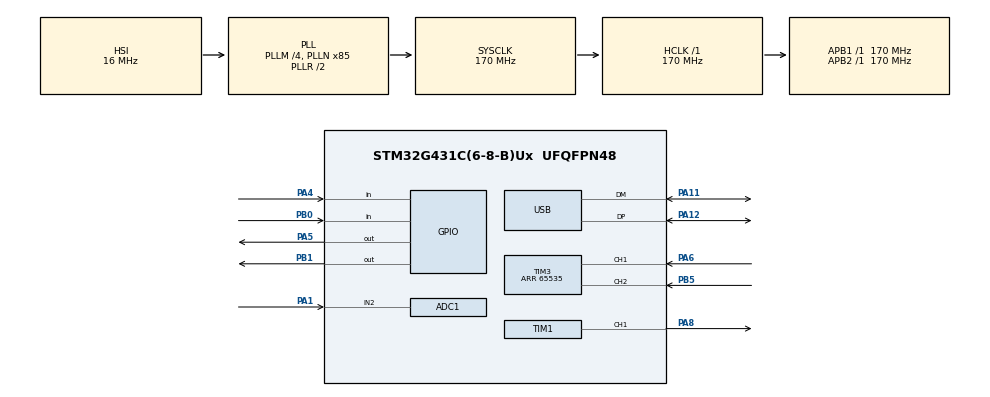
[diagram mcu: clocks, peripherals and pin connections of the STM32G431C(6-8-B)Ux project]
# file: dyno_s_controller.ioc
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ADC1.Channel-0\#ChannelRegularConversion=ADC_CHANNEL_2
ADC1.ClockPrescaler=ADC_CLOCK_ASYNC_DIV4
ADC1.ContinuousConvMode=ENABLE
ADC1.DMAContinuousRequests=ENABLE
ADC1.NbrOfConversionFlag=1
ADC1.OffsetNumber-0\#ChannelRegularConversion=ADC_OFFSET_NONE
ADC1.OversamplingMode=ENABLE
ADC1.Rank-0\#ChannelRegularConversion=1
ADC1.Ratio=ADC_OVERSAMPLING_RATIO_16
ADC1.RightBitShift=ADC_RIGHTBITSHIFT_4
ADC1.SamplingTime-0\#ChannelRegularConversion=ADC_SAMPLETIME_47CYCLES_5
ADC1.master=1
Dma.ADC1.0.Direction=DMA_PERIPH_TO_MEMORY
Dma.ADC1.0.EventEnable=DISABLE
Dma.ADC1.0.Instance=DMA1_Channel1
Dma.ADC1.0.MemDataAlignment=DMA_MDATAALIGN_HALFWORD
Dma.ADC1.0.MemInc=DMA_MINC_ENABLE
Dma.ADC1.0.Mode=DMA_CIRCULAR
Dma.ADC1.0.PeriphDataAlignment=DMA_PDATAALIGN_HALFWORD
Dma.ADC1.0.PeriphInc=DMA_PINC_DISABLE
Dma.ADC1.0.Polarity=HAL_DMAMUX_REQ_GEN_RISING
Dma.ADC1.0.Priority=DMA_PRIORITY_LOW
Dma.ADC1.0.RequestNumber=1
Dma.ADC1.0.SignalID=NONE
Dma.ADC1.0.SyncEnable=DISABLE
Dma.ADC1.0.SyncPolarity=HAL_DMAMUX_SYNC_NO_EVENT
Dma.ADC1.0.SyncRequestNumber=1
Dma.ADC1.0.SyncSignalID=NONE
Dma.Request0=ADC1
Mcu.Family=STM32G4
Mcu.Name=STM32G431C(6-8-B)Ux
Mcu.Package=UFQFPN48
NVIC.DMA1_Channel1_IRQn=true\:0\:0\:false\:false\:true\:false\:true\:true
NVIC.PriorityGroup=NVIC_PRIORITYGROUP_4
NVIC.USB_LP_IRQn=true\:0\:0\:false\:false\:true\:false\:true\:true
PA1.Mode=IN2-Single-Ended
PA1.Signal=ADC1_IN2
PA11.Mode=Device
PA11.Signal=USB_DM
PA12.Mode=Device
PA12.Signal=USB_DP
PA13.Mode=Serial_Wire
PA13.Signal=SYS_JTMS-SWDIO
PA14.Mode=Serial_Wire
PA14.Signal=SYS_JTCK-SWCLK
PA4.GPIO_PuPd=GPIO_PULLUP
PA4.Signal=GPIO_Input
PA5.GPIO_Speed=GPIO_SPEED_FREQ_MEDIUM
PA5.Signal=GPIO_Output
PA6.GPIO_PuPd=GPIO_PULLUP
PA6.GPIO_Speed=GPIO_SPEED_FREQ_HIGH
PA6.Signal=S_TIM3_CH1
PB5.GPIO_PuPd=GPIO_PULLUP
PB5.GPIO_Speed=GPIO_SPEED_FREQ_HIGH
PB5.Signal=S_TIM3_CH2
PB0.GPIO_PuPd=GPIO_PULLUP
PB0.Signal=GPIO_Input
PB1.GPIO_Speed=GPIO_SPEED_FREQ_MEDIUM
PB1.Signal=GPIO_Output
PA8.Signal=S_TIM1_CH1
PF0-OSC_IN.Mode=HSE-External-Oscillator
PF0-OSC_IN.Signal=RCC_OSC_IN
PF1-OSC_OUT.Mode=HSE-External-Oscillator
PF1-OSC_OUT.Signal=RCC_OSC_OUT
ProjectManager.HeapSize=0x200
ProjectManager.StackSize=0x400
ProjectManager.TargetToolchain=CMake
RCC.ADC12Freq_Value=170000000
RCC.AHBFreq_Value=170000000
RCC.APB1Freq_Value=170000000
RCC.APB1TimFreq_Value=170000000
RCC.APB2Freq_Value=170000000
RCC.APB2TimFreq_Value=170000000
RCC.CK48CLockSelection=RCC_USBCLKSOURCE_HSI48
RCC.CortexFreq_Value=170000000
RCC.EXTERNAL_CLOCK_VALUE=12288000
RCC.HCLKFreq_Value=170000000
RCC.HSE_VALUE=8000000
RCC.HSI48_VALUE=48000000
RCC.HSI_VALUE=16000000
RCC.LSE_VALUE=32768
RCC.PLLM=RCC_PLLM_DIV4
RCC.PLLN=85
RCC.SYSCLKFreq_VALUE=170000000
RCC.SYSCLKSource=RCC_SYSCLKSOURCE_PLLCLK
RCC.USBFreq_Value=48000000
RCC.VCOOutputFreq_Value=340000000
SH.S_TIM1_CH1.0=TIM1_CH1,PWM Generation1 CH1
SH.S_TIM3_CH1.0=TIM3_CH1,Encoder_Interface
SH.S_TIM3_CH2.0=TIM3_CH2,Encoder_Interface
TIM1.AutoReloadPreload=TIM_AUTORELOAD_PRELOAD_ENABLE
TIM1.Channel-PWM\ Generation1\ CH1=TIM_CHANNEL_1
TIM1.PeriodNoDither=8499
TIM1.Prescaler=0
TIM3.EncoderMode=TIM_ENCODERMODE_TI12
TIM3.IC1Filter=10
TIM3.IC2Filter=10
TIM3.PeriodNoDither=65535
USB_DEVICE.CLASS_NAME_FS=CDC
USB_DEVICE.VirtualMode=Cdc
USB_DEVICE.VirtualModeFS=Cdc_FS
VP_SYS_VS_DBSignals.Mode=DisableDeadBatterySignals
VP_TIM1_VS_ClockSourceINT.Mode=Internal
VP_USB_DEVICE_VS_USB_DEVICE_CDC_FS.Mode=CDC_FS
board=custom

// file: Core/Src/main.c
/* USER CODE BEGIN Header */
/**
  ******************************************************************************
  * @file           : main.c
  * @brief          : Main program body
  ******************************************************************************
  * @attention
  *
  * Copyright (c) 2026 STMicroelectronics.
  * All rights reserved.
  *
  * This software is licensed under terms that can be found in the LICENSE file
  * in the root directory of this software component.
  * If no LICENSE file comes with this software, it is provided AS-IS.
  *
  ******************************************************************************
  */
/* USER CODE END Header */
#include "main.h"
#include "usb_device.h"

/* USER CODE BEGIN Includes */
#include "acs712.h"
#include "pwm_driver.h"
#include "pid.h"
#include "hx711.h"     /* DÒNG NÀY ĐÃ ĐƯỢC BỔ SUNG ĐỂ SỬA LỖI COMPILER */
#include "encoder.h"
#include "usb_comm.h"
#include "road_load.h"
#include <math.h>
#include <stdio.h>
#include <string.h>
/* USER CODE END Includes */

/* USER CODE BEGIN PTD */
typedef struct {
    float T_start;
    float T_target;
    float T_boost;
    uint8_t is_boosting;
    uint32_t start_tick;
} Target_Boost_HandleTypeDef;
/* USER CODE END PTD */

/* USER CODE BEGIN PD */

/* Đặt = 1 để chạy Tool Calib | Đặt = 0 để chạy chương trình chính */
#define CALIBRATION_MODE        0
/* Chọn cảm biến cần Calib: 1 = Loadcell 1 (Nén M+), 2 = Loadcell 2 (Kéo M-) */
#define CALIB_SELECT_SENSOR     1
/* Đổi khối lượng quả cân chuẩn của ở đây (Ví dụ: 7.425 kg hoặc 1.0 kg) */
#define KNOWN_WEIGHT_KG         7.425f
#define ADC_BUF_SIZE            64
#define TJ_POD_MAX_CURRENT_A    2.7f
#define TJ_POD_MAX_TORQUE_NM    200.0f
#define TORQUE_TO_CURRENT_KT    74.07f
#define CONTROL_LOOP_TIME_MS    1
#define TELEMETRY_TIME_MS       20
#define BRAKE_TAU_SEC           0.37f
#define DESIRED_STEP_TIME_SEC   0.05f
#define COIL_RESISTANCE_OHM     8.0f
#define SUPPLY_VOLTAGE_V        24.0f
/* Thời gian boost tối đa, tránh kẹt boost khi nhiễu dòng không cho đạt ngưỡng thoát */
#define BOOST_MAX_TIME_MS       250
/* Failsafe: quá thời gian này không nhận lệnh => nhả phanh. 0 = tắt
 * (Khi bật, phần mềm PC phải gửi lại lệnh T định kỳ) */
#define CMD_TIMEOUT_MS          0

/* Cánh tay đòn: khoảng cách từ tâm cảm biến lực đến tâm phanh bột từ = 198 mm
 * Mô-men phanh đo được: T = F_loadcell * L */
#define DYNO_ARM_1_LENGTH_M     0.198f /* Cánh tay đòn Loadcell 1 (mét) */
#define DYNO_ARM_2_LENGTH_M     0.198f /* Cánh tay đòn Loadcell 2 (mét) */
#define DYNO_ARM_LENGTH_M       0.198f /* Tương thích ngược */

/* Vòng kín mô-men (vòng ngoài): so mô-men đo từ loadcell với giá trị đặt,
 * cộng phần hiệu chỉnh vào mô-men đặt cho vòng dòng (vòng trong).
 * T_cmd = T_set + PI(T_ref - T_loadcell)
 * T_ref: mô-men kỳ vọng = T_set qua khâu trễ bậc 1 (trễ từ phanh + lọc loadcell),
 * để PI chỉ bù sai số xác lập (Kt lệch, nhiệt độ...) mà không bị vọt lố do trễ */
#define TORQUE_LOOP_KP          0.5f
#define TORQUE_LOOP_KI          4.0f   /* 1/s */
#define TORQUE_LOOP_LC_TAU_SEC  0.12f  /* Trễ do lọc EMA loadcell (~80 SPS, alpha 0.1) */
#define TORQUE_LOOP_CORR_MAX_NM 50.0f  /* Giới hạn phần hiệu chỉnh */
/* USER CODE END PD */

ADC_HandleTypeDef hadc1;
DMA_HandleTypeDef hdma_adc1;

TIM_HandleTypeDef htim1;
TIM_HandleTypeDef htim3;

/* USER CODE BEGIN PV */
uint16_t adc1_dma_buf[ADC_BUF_SIZE];

ACS712_HandleTypeDef       h_acs712;
PWM_Driver_HandleTypeDef   h_brake_pwm;
PID_HandleTypeDef          h_pid_current;
PID_HandleTypeDef          h_pid_torque;   /* Vòng ngoài: mô-men loadcell */
HX711_HandleTypeDef        h_hx711_1;  /* Loadcell 1 (Bên nén M+) - PA4/PA5 */
HX711_HandleTypeDef        h_hx711_2;  /* Loadcell 2 (Bên kéo M-) - PB0/PB1 */
Encoder_HandleTypeDef      h_encoder;
RoadLoad_HandleTypeDef     h_road_load;
Target_Boost_HandleTypeDef h_boost = {0.0f, 0.0f, 0.0f, 0, 0};

volatile float g_measured_current_A      = 0.0f;
volatile float g_measured_current_mA     = 0.0f;
volatile float g_torque_from_current_Nm  = 0.0f;
volatile float g_torque_from_loadcell_Nm = 0.0f; /* Tổng mô-men Dyno: |M1| + |M2| (Tự động chống ngược) */
volatile float g_torque_loadcell_1_Nm    = 0.0f; /* Mô-men nhánh 1 */
volatile float g_torque_loadcell_2_Nm    = 0.0f; /* Mô-men nhánh 2 */
volatile float g_measured_speed_rpm      = 0.0f;
volatile float g_mechanical_power_w      = 0.0f;
volatile float g_target_current_A        = 0.0f;
volatile float g_pwm_duty_output         = 0.0f;
volatile float g_torque_ref_Nm           = 0.0f; /* Mô-men kỳ vọng cho vòng kín loadcell */
/* USER CODE END PV */

void SystemClock_Config(void);
static void MX_GPIO_Init(void);
static void MX_DMA_Init(void);
static void MX_ADC1_Init(void);
static void MX_TIM1_Init(void);
static void MX_TIM3_Init(void);

/* USER CODE BEGIN 0 */
void Run_HX711_Calibration_Tool(HX711_HandleTypeDef *hx, uint8_t sensor_id) {
    static char msg[128];

    // 1. Lấy mốc Zero khi chưa đặt tải
    snprintf(msg, sizeof(msg), "\r\n=== HE THONG CALIB LOADCELL %d ===\r\n1. Dang lay moc Zero (Khong dat gi len phanh)...", sensor_id);
    CDC_Transmit_FS((uint8_t*)msg, strlen(msg));

    HX711_Tare(hx, 40);

    snprintf(msg, sizeof(msg), " XONG!\r\n -> ZERO OFFSET: %ld\r\n", hx->offset);
    HAL_Delay(50);
    CDC_Transmit_FS((uint8_t*)msg, strlen(msg));
    HAL_Delay(2000);

    // 2. Yêu cầu đặt quả cân lên
    char str_weight[16];
    Format_Float(str_weight, sizeof(str_weight), KNOWN_WEIGHT_KG, 2);
    snprintf(msg, sizeof(msg), "2. Hay treo/dat qua can %s kg len Loadcell %d trong 5 giay...\r\n", str_weight, sensor_id);
    CDC_Transmit_FS((uint8_t*)msg, strlen(msg));

    for (int i = 5; i > 0; i--) {
        snprintf(msg, sizeof(msg), " Dem nguoc: %d s\r\n", i);
        HAL_Delay(50);
        CDC_Transmit_FS((uint8_t*)msg, strlen(msg));
        HAL_Delay(4000);
    }

    // 3. Đọc mẫu có tải để tính Scale Factor
    snprintf(msg, sizeof(msg), "3. Dang tinh toan Scale Factor Loadcell %d...", sensor_id);
    HAL_Delay(50);
    CDC_Transmit_FS((uint8_t*)msg, strlen(msg));

    int64_t sum = 0;
    uint8_t count = 0;
    uint32_t step3_timeout = HAL_GetTick();

    while (count < 40) {
        if (HX711_IsReady(hx)) {
            sum += HX711_ReadRaw(hx);
            count++;
        }
        /* Bảo vệ chống treo nếu cảm biến tuột dây */
        if (HAL_GetTick() - step3_timeout > 6000) {
            snprintf(msg, sizeof(msg), "\r\n[LOI]: Timeout doc HX711! Kiem tra day ket noi.\r\n");
            CDC_Transmit_FS((uint8_t*)msg, strlen(msg));
            return;
        }
    }
    int32_t avg_raw = (int32_t)(sum / 40);
    float calculated_scale = (float)(avg_raw - hx->offset) / KNOWN_WEIGHT_KG;
    char str_scale[24];
    Format_Float(str_scale, sizeof(str_scale), calculated_scale, 2);

    // 4. In kết quả cuối cùng
    static char big_buffer[384]; /* Dùng static và 384 bytes an toàn cho RAM */
    snprintf(big_buffer, sizeof(big_buffer),
             " XONG!\r\n\r\n=========================================\r\n"
             "KET QUA CALIB HOAN TAT CHO LOADCELL %d:\r\n"
             "-> ZERO OFFSET: %ld\r\n"
             "-> RAW CO TAI (AVG): %ld\r\n"
             "-> DELTA ADC (LOAD - ZERO): %ld\r\n"
             "-> SCALE FACTOR: %s\r\n\r\n"
             "-> HAY COPY DONG SAU VAO FILE hx711.h:\r\n"
             "#define HX711_%d_SCALE_FACTOR  %sf\r\n"
             "=========================================\r\n",
             sensor_id, (long)hx->offset, (long)avg_raw, (long)(avg_raw - hx->offset), str_scale,
             sensor_id, str_scale);

    HAL_Delay(100);
    CDC_Transmit_FS((uint8_t*)big_buffer, strlen(big_buffer));
}
/* USER CODE END 0 */

int main(void)
{

  /* MCU Configuration--------------------------------------------------------*/

  /* Reset of all peripherals, Initializes the Flash interface and the Systick. */

  HAL_Init();

  /* Configure the system clock */
  SystemClock_Config();

  /* Initialize all configured peripherals */
  MX_GPIO_Init();
  MX_DMA_Init();
  MX_ADC1_Init();
  MX_TIM1_Init();
  MX_USB_Device_Init();
  MX_TIM3_Init();
  /* USER CODE BEGIN 2 */
  HAL_ADCEx_Calibration_Start(&hadc1, ADC_SINGLE_ENDED);
  HAL_ADC_Start_DMA(&hadc1, (uint32_t*)adc1_dma_buf, ADC_BUF_SIZE);

  ACS712_Init(&h_acs712, &hadc1, adc1_dma_buf, ADC_BUF_SIZE);
  ACS712_CalibrateZero(&h_acs712);

  PWM_Driver_Init(&h_brake_pwm, &htim1, TIM_CHANNEL_1);
  PWM_Driver_Start(&h_brake_pwm);

  PID_Init(&h_pid_current, 30.0f, 15.0f, 0.0f, 0.001f, 0.0f, 100.0f);
  PID_Init(&h_pid_torque, TORQUE_LOOP_KP, TORQUE_LOOP_KI, 0.0f, 0.001f,
           -TORQUE_LOOP_CORR_MAX_NM, TORQUE_LOOP_CORR_MAX_NM);

  // Khởi tạo HX711 #1 (Loadcell 1 bên nén M+: DOUT=PA4, SCK=PA5)
  HX711_Init(&h_hx711_1, GPIOA, GPIO_PIN_4, GPIOA, GPIO_PIN_5, DYNO_ARM_1_LENGTH_M);
  h_hx711_1.scale_factor = HX711_1_SCALE_FACTOR;

  // Khởi tạo HX711 #2 (Loadcell 2 bên kéo M-: DOUT=PB0, SCK=PB1)
  HX711_Init(&h_hx711_2, GPIOB, GPIO_PIN_0, GPIOB, GPIO_PIN_1, DYNO_ARM_2_LENGTH_M);
  h_hx711_2.scale_factor = HX711_2_SCALE_FACTOR;

  // Khởi tạo Encoder đo tốc độ trục phanh (PPR = 2000, 4X = 8000 counts/vòng trên TIM3 PA6/PB5)
  Encoder_Init(&h_encoder, &htim3, 2000.0f);
  Encoder_Start(&h_encoder);

  RoadLoad_Init(&h_road_load, ROAD_LOAD_DEFAULT_MASS_KG, ROAD_LOAD_DEFAULT_RADIUS_M);

  USB_Comm_Init();

#if CALIBRATION_MODE
  HAL_Delay(5000);
#if (CALIB_SELECT_SENSOR == 2)
  Run_HX711_Calibration_Tool(&h_hx711_2, 2);
#else
  Run_HX711_Calibration_Tool(&h_hx711_1, 1);
#endif
  while(1);
#else
  HX711_Tare(&h_hx711_1, 20);
  HX711_Tare(&h_hx711_2, 20);
#endif

  uint32_t last_cmd_time = HAL_GetTick();
  (void)last_cmd_time; /* Chỉ dùng khi CMD_TIMEOUT_MS > 0 */
  uint32_t last_control_time = HAL_GetTick();
  uint32_t last_telemetry_time = HAL_GetTick();
  /* USER CODE END 2 */

  /* Infinite loop */
  /* USER CODE BEGIN WHILE */
  while (1)
  {
    uint32_t current_time = HAL_GetTick();

    // =========================================================================
    // VÒNG LẶP ĐIỀU KHIỂN KÍN 1kHz (1ms)
    // =========================================================================
    if (current_time - last_control_time >= CONTROL_LOOP_TIME_MS) {
        last_control_time = current_time;

        /* Dòng lọc nhanh cho PID, dòng lọc mượt cho hiển thị */
        g_measured_current_A = ACS712_Process(&h_acs712);
        ACS712_AutoZero(&h_acs712, (g_pwm_duty_output <= 0.0f) ? 1 : 0);
        g_measured_current_mA = ACS712_GetDisplayCurrent(&h_acs712) * 1000.0f;
        g_torque_from_current_Nm = g_measured_current_A * TORQUE_TO_CURRENT_KT;

        HX711_Process(&h_hx711_1);
        HX711_Process(&h_hx711_2);
        g_torque_loadcell_1_Nm = h_hx711_1.measured_torque_nm;
        g_torque_loadcell_2_Nm = h_hx711_2.measured_torque_nm;

        /* Tổng mô-men Dyno từ 2 loadcell đối xứng (Tự động chống ngược chiều):
         * Sử dụng tổng biên độ lực cản: M_total = |M1| + |M2|
         * - Bất chấp cắm Loadcell nào vào kênh 1 hay kênh 2.
         * - Bất chấp động cơ quay thuận hay quay nghịch.
         * - Nếu chỉ cắm 1 Loadcell (kênh còn lại rút dây), kênh đó = 0 => M_total = |M1|.
         */
        g_torque_from_loadcell_Nm = fabsf(g_torque_loadcell_1_Nm) + fabsf(g_torque_loadcell_2_Nm);

        /* Failsafe: mất kết nối USB (hoặc quá hạn lệnh) => nhả phanh */
        if (g_cmd_received_flag) {
            g_cmd_received_flag = 0;
            last_cmd_time = current_time;
        }
        if (!USB_Comm_IsConnected()
#if (CMD_TIMEOUT_MS > 0)
            || (current_time - last_cmd_time > CMD_TIMEOUT_MS)
#endif
           ) {
            g_target_torque_Nm = 0.0f;
        }

        if (g_target_torque_Nm <= 0.0f) {
            PWM_Driver_SetDutyCycle(&h_brake_pwm, 0.0f);
            PID_Reset(&h_pid_current);
            PID_Reset(&h_pid_torque);
            g_torque_ref_Nm = fabsf(g_torque_from_loadcell_Nm);
            h_boost.is_boosting = 0;
            h_boost.T_target = 0.0f;
            g_pwm_duty_output = 0.0f;
        }
        else {
            /* Chế độ mô phỏng: mô-men thay đổi liên tục => không dùng boost bước nhảy */
            if (!g_road_sim_enabled && fabsf(g_target_torque_Nm - h_boost.T_target) > 1.0f) {
                h_boost.T_start = g_torque_from_current_Nm;
                h_boost.T_target = g_target_torque_Nm;
                h_boost.T_boost = Calculate_Boost_Torque(h_boost.T_start, h_boost.T_target, DESIRED_STEP_TIME_SEC, BRAKE_TAU_SEC);
                h_boost.is_boosting = 1;
                h_boost.start_tick = current_time;
            } else {
              h_boost.T_target = g_target_torque_Nm;
              if (g_road_sim_enabled) h_boost.is_boosting = 0;
            }

            float active_target_Nm = h_boost.T_target;

            if (h_boost.is_boosting) {
                active_target_Nm = h_boost.T_boost;

                if ((h_boost.T_target > h_boost.T_start && g_torque_from_current_Nm >= h_boost.T_target * 0.96f) ||
                    (h_boost.T_target < h_boost.T_start && g_torque_from_current_Nm <= h_boost.T_target * 1.04f) ||
                    (current_time - h_boost.start_tick > BOOST_MAX_TIME_MS))
                {
                    h_boost.is_boosting = 0;
                    active_target_Nm = h_boost.T_target;

                    float target_I = h_boost.T_target / TORQUE_TO_CURRENT_KT;
                    h_pid_current.integrator = (target_I * COIL_RESISTANCE_OHM / SUPPLY_VOLTAGE_V) * 100.0f;
                }
            }

            /* Vòng kín mô-men theo loadcell: chỉ chạy khi hết boost và có cảm biến */
            float T_meas_Nm = fabsf(g_torque_from_loadcell_Nm);
            if (!h_boost.is_boosting && (h_hx711_1.is_connected || h_hx711_2.is_connected)) {
                g_torque_ref_Nm += (h_boost.T_target - g_torque_ref_Nm) *
                                 ((CONTROL_LOOP_TIME_MS * 0.001f) / (BRAKE_TAU_SEC + TORQUE_LOOP_LC_TAU_SEC));
                float corr_Nm = PID_Compute(&h_pid_torque, g_torque_ref_Nm, T_meas_Nm);
                active_target_Nm = h_boost.T_target + corr_Nm;
                if (active_target_Nm < 0.0f) active_target_Nm = 0.0f;
            } else {
                /* Bắt đầu mô hình kỳ vọng từ giá trị đo thực tế */
                g_torque_ref_Nm = T_meas_Nm;
                PID_Reset(&h_pid_torque);
            }

            g_target_current_A = active_target_Nm / TORQUE_TO_CURRENT_KT;
            if (g_target_current_A > TJ_POD_MAX_CURRENT_A) g_target_current_A = TJ_POD_MAX_CURRENT_A;

            g_pwm_duty_output = PID_Compute(&h_pid_current, g_target_current_A, g_measured_current_A);
            PWM_Driver_SetDutyCycle(&h_brake_pwm, g_pwm_duty_output);
        }
    }

    // =========================================================================
    // KHỐI TELEMETRY 50Hz (20ms) - CẬP NHẬT TỐC ĐỘ ENCODER & GỬI DỮ LIỆU
    // =========================================================================
    if (current_time - last_telemetry_time >= TELEMETRY_TIME_MS) {
        uint32_t dt_ms = current_time - last_telemetry_time;
        last_telemetry_time = current_time;

        /* Tính toán tốc độ quay RPM và Công suất cơ học */
        float active_torque = (fabsf(g_torque_from_loadcell_Nm) > 0.01f) ? fabsf(g_torque_from_loadcell_Nm) : g_torque_from_current_Nm;
        Encoder_Process(&h_encoder, (float)dt_ms, active_torque);

        g_mechanical_power_w = Encoder_GetPower(&h_encoder);

        /* Mô phỏng tải đường: Fw = m*a + 0.088*m + (0.000015*m + 0.02)*v_kmh^2 */
        RoadLoad_SetParams(&h_road_load, g_vehicle_mass_kg, g_wheel_radius_m);
        float road_torque_Nm = RoadLoad_Process(&h_road_load, Encoder_GetOmega(&h_encoder), (float)dt_ms / 1000.0f);

        /* Tốc độ quay bánh xe = v / r */
        g_measured_speed_rpm = h_road_load.wheel_rpm;
        if (g_road_sim_enabled && USB_Comm_IsConnected()) {
            if (road_torque_Nm > TJ_POD_MAX_TORQUE_NM) road_torque_Nm = TJ_POD_MAX_TORQUE_NM;
            g_target_torque_Nm = road_torque_Nm;
        }

        USB_Comm_SendTelemetry(g_measured_current_mA,
                               g_measured_current_mA * 0.001f * TORQUE_TO_CURRENT_KT,
                               g_torque_from_loadcell_Nm,
                               g_pwm_duty_output,
                               g_measured_speed_rpm,
                               g_mechanical_power_w,
                               h_road_load.v_kmh,
                               h_road_load.force_n);
    }
    /* USER CODE END WHILE */

  }
}

void SystemClock_Config(void)
{
  RCC_OscInitTypeDef RCC_OscInitStruct = {0};
  RCC_ClkInitTypeDef RCC_ClkInitStruct = {0};

  /** Configure the main internal regulator output voltage
  */
  HAL_PWREx_ControlVoltageScaling(PWR_REGULATOR_VOLTAGE_SCALE1_BOOST);

  /** Initializes the RCC Oscillators according to the specified parameters
  * in the RCC_OscInitTypeDef structure.
  */
  RCC_OscInitStruct.OscillatorType = RCC_OSCILLATORTYPE_HSI|RCC_OSCILLATORTYPE_HSI48;
  RCC_OscInitStruct.HSIState = RCC_HSI_ON;
  RCC_OscInitStruct.HSICalibrationValue = RCC_HSICALIBRATION_DEFAULT;
  RCC_OscInitStruct.HSI48State = RCC_HSI48_ON;
  RCC_OscInitStruct.PLL.PLLState = RCC_PLL_ON;
  RCC_OscInitStruct.PLL.PLLSource = RCC_PLLSOURCE_HSI;
  RCC_OscInitStruct.PLL.PLLM = RCC_PLLM_DIV4;
  RCC_OscInitStruct.PLL.PLLN = 85;
  RCC_OscInitStruct.PLL.PLLP = RCC_PLLP_DIV2;
  RCC_OscInitStruct.PLL.PLLQ = RCC_PLLQ_DIV2;
  RCC_OscInitStruct.PLL.PLLR = RCC_PLLR_DIV2;
  if (HAL_RCC_OscConfig(&RCC_OscInitStruct) != HAL_OK)
  {
    Error_Handler();
  }

  /** Initializes the CPU, AHB and APB buses clocks
  */
  RCC_ClkInitStruct.ClockType = RCC_CLOCKTYPE_HCLK|RCC_CLOCKTYPE_SYSCLK
                              |RCC_CLOCKTYPE_PCLK1|RCC_CLOCKTYPE_PCLK2;
  RCC_ClkInitStruct.SYSCLKSource = RCC_SYSCLKSOURCE_PLLCLK;
  RCC_ClkInitStruct.AHBCLKDivider = RCC_SYSCLK_DIV1;
  RCC_ClkInitStruct.APB1CLKDivider = RCC_HCLK_DIV1;
  RCC_ClkInitStruct.APB2CLKDivider = RCC_HCLK_DIV1;

  if (HAL_RCC_ClockConfig(&RCC_ClkInitStruct, FLASH_LATENCY_4) != HAL_OK)
  {
    Error_Handler();
  }
}

static void MX_ADC1_Init(void)
{

  ADC_MultiModeTypeDef multimode = {0};
  ADC_ChannelConfTypeDef sConfig = {0};

  /** Common config
  */
  hadc1.Instance = ADC1;
  hadc1.Init.ClockPrescaler = ADC_CLOCK_ASYNC_DIV4;
  hadc1.Init.Resolution = ADC_RESOLUTION_12B;
  hadc1.Init.DataAlign = ADC_DATAALIGN_RIGHT;
  hadc1.Init.GainCompensation = 0;
  hadc1.Init.ScanConvMode = ADC_SCAN_DISABLE;
  hadc1.Init.EOCSelection = ADC_EOC_SINGLE_CONV;
  hadc1.Init.LowPowerAutoWait = DISABLE;
  hadc1.Init.ContinuousConvMode = ENABLE;
  hadc1.Init.NbrOfConversion = 1;
  hadc1.Init.DiscontinuousConvMode = DISABLE;
  hadc1.Init.ExternalTrigConv = ADC_SOFTWARE_START;
  hadc1.Init.ExternalTrigConvEdge = ADC_EXTERNALTRIGCONVEDGE_NONE;
  hadc1.Init.DMAContinuousRequests = ENABLE;
  hadc1.Init.Overrun = ADC_OVR_DATA_PRESERVED;
  hadc1.Init.OversamplingMode = ENABLE;
  hadc1.Init.Oversampling.Ratio = ADC_OVERSAMPLING_RATIO_16;
  hadc1.Init.Oversampling.RightBitShift = ADC_RIGHTBITSHIFT_4;
  hadc1.Init.Oversampling.TriggeredMode = ADC_TRIGGEREDMODE_SINGLE_TRIGGER;
  hadc1.Init.Oversampling.OversamplingStopReset = ADC_REGOVERSAMPLING_CONTINUED_MODE;
  if (HAL_ADC_Init(&hadc1) != HAL_OK)
  {
    Error_Handler();
  }

  /** Configure the ADC multi-mode
  */
  multimode.Mode = ADC_MODE_INDEPENDENT;
  if (HAL_ADCEx_MultiModeConfigChannel(&hadc1, &multimode) != HAL_OK)
  {
    Error_Handler();
  }

  /** Configure Regular Channel
  */
  sConfig.Channel = ADC_CHANNEL_2;
  sConfig.Rank = ADC_REGULAR_RANK_1;
  sConfig.SamplingTime = ADC_SAMPLETIME_47CYCLES_5;
  sConfig.SingleDiff = ADC_SINGLE_ENDED;
  sConfig.OffsetNumber = ADC_OFFSET_NONE;
  sConfig.Offset = 0;
  if (HAL_ADC_ConfigChannel(&hadc1, &sConfig) != HAL_OK)
  {
    Error_Handler();
  }

}

static void MX_TIM1_Init(void)
{

  TIM_ClockConfigTypeDef sClockSourceConfig = {0};
  TIM_MasterConfigTypeDef sMasterConfig = {0};
  TIM_OC_InitTypeDef sConfigOC = {0};
  TIM_BreakDeadTimeConfigTypeDef sBreakDeadTimeConfig = {0};

  htim1.Instance = TIM1;
  htim1.Init.Prescaler = 0;
  htim1.Init.CounterMode = TIM_COUNTERMODE_UP;
  htim1.Init.Period = 8499;
  htim1.Init.ClockDivision = TIM_CLOCKDIVISION_DIV1;
  htim1.Init.RepetitionCounter = 0;
  htim1.Init.AutoReloadPreload = TIM_AUTORELOAD_PRELOAD_ENABLE;
  if (HAL_TIM_Base_Init(&htim1) != HAL_OK)
  {
    Error_Handler();
  }
  sClockSourceConfig.ClockSource = TIM_CLOCKSOURCE_INTERNAL;
  if (HAL_TIM_ConfigClockSource(&htim1, &sClockSourceConfig) != HAL_OK)
  {
    Error_Handler();
  }
  if (HAL_TIM_PWM_Init(&htim1) != HAL_OK)
  {
    Error_Handler();
  }
  sMasterConfig.MasterOutputTrigger = TIM_TRGO_RESET;
  sMasterConfig.MasterOutputTrigger2 = TIM_TRGO2_RESET;
  sMasterConfig.MasterSlaveMode = TIM_MASTERSLAVEMODE_DISABLE;
  if (HAL_TIMEx_MasterConfigSynchronization(&htim1, &sMasterConfig) != HAL_OK)
  {
    Error_Handler();
  }
  sConfigOC.OCMode = TIM_OCMODE_PWM1;
  sConfigOC.Pulse = 0;
  sConfigOC.OCPolarity = TIM_OCPOLARITY_HIGH;
  sConfigOC.OCNPolarity = TIM_OCNPOLARITY_HIGH;
  sConfigOC.OCFastMode = TIM_OCFAST_DISABLE;
  sConfigOC.OCIdleState = TIM_OCIDLESTATE_RESET;
  sConfigOC.OCNIdleState = TIM_OCNIDLESTATE_RESET;
  if (HAL_TIM_PWM_ConfigChannel(&htim1, &sConfigOC, TIM_CHANNEL_1) != HAL_OK)
  {
    Error_Handler();
  }
  sBreakDeadTimeConfig.OffStateRunMode = TIM_OSSR_DISABLE;
  sBreakDeadTimeConfig.OffStateIDLEMode = TIM_OSSI_DISABLE;
  sBreakDeadTimeConfig.LockLevel = TIM_LOCKLEVEL_OFF;
  sBreakDeadTimeConfig.DeadTime = 0;
  sBreakDeadTimeConfig.BreakState = TIM_BREAK_DISABLE;
  sBreakDeadTimeConfig.BreakPolarity = TIM_BREAKPOLARITY_HIGH;
  sBreakDeadTimeConfig.BreakFilter = 0;
  sBreakDeadTimeConfig.BreakAFMode = TIM_BREAK_AFMODE_INPUT;
  sBreakDeadTimeConfig.Break2State = TIM_BREAK2_DISABLE;
  sBreakDeadTimeConfig.Break2Polarity = TIM_BREAK2POLARITY_HIGH;
  sBreakDeadTimeConfig.Break2Filter = 0;
  sBreakDeadTimeConfig.Break2AFMode = TIM_BREAK_AFMODE_INPUT;
  sBreakDeadTimeConfig.AutomaticOutput = TIM_AUTOMATICOUTPUT_DISABLE;
  if (HAL_TIMEx_ConfigBreakDeadTime(&htim1, &sBreakDeadTimeConfig) != HAL_OK)
  {
    Error_Handler();
  }
  HAL_TIM_MspPostInit(&htim1);

}

static void MX_TIM3_Init(void)
{

  TIM_Encoder_InitTypeDef sConfig = {0};
  TIM_MasterConfigTypeDef sMasterConfig = {0};

  htim3.Instance = TIM3;
  htim3.Init.Prescaler = 0;
  htim3.Init.CounterMode = TIM_COUNTERMODE_UP;
  htim3.Init.Period = 65535;
  htim3.Init.ClockDivision = TIM_CLOCKDIVISION_DIV1;
  htim3.Init.AutoReloadPreload = TIM_AUTORELOAD_PRELOAD_DISABLE;
  sConfig.EncoderMode = TIM_ENCODERMODE_TI12;
  sConfig.IC1Polarity = TIM_ICPOLARITY_RISING;
  sConfig.IC1Selection = TIM_ICSELECTION_DIRECTTI;
  sConfig.IC1Prescaler = TIM_ICPSC_DIV1;
  sConfig.IC1Filter = 10;
  sConfig.IC2Polarity = TIM_ICPOLARITY_RISING;
  sConfig.IC2Selection = TIM_ICSELECTION_DIRECTTI;
  sConfig.IC2Prescaler = TIM_ICPSC_DIV1;
  sConfig.IC2Filter = 10;
  if (HAL_TIM_Encoder_Init(&htim3, &sConfig) != HAL_OK)
  {
    Error_Handler();
  }
  sMasterConfig.MasterOutputTrigger = TIM_TRGO_RESET;
  sMasterConfig.MasterSlaveMode = TIM_MASTERSLAVEMODE_DISABLE;
  if (HAL_TIMEx_MasterConfigSynchronization(&htim3, &sMasterConfig) != HAL_OK)
  {
    Error_Handler();
  }

}

static void MX_DMA_Init(void)
{

  /* DMA controller clock enable */
  __HAL_RCC_DMAMUX1_CLK_ENABLE();
  __HAL_RCC_DMA1_CLK_ENABLE();

  /* DMA interrupt init */
  /* DMA1_Channel1_IRQn interrupt configuration */
  HAL_NVIC_SetPriority(DMA1_Channel1_IRQn, 0, 0);
  HAL_NVIC_EnableIRQ(DMA1_Channel1_IRQn);

}

static void MX_GPIO_Init(void)
{
  GPIO_InitTypeDef GPIO_InitStruct = {0};

  /* GPIO Ports Clock Enable */
  __HAL_RCC_GPIOF_CLK_ENABLE();
  __HAL_RCC_GPIOA_CLK_ENABLE();
  __HAL_RCC_GPIOB_CLK_ENABLE();

  /*Configure GPIO pin Output Level */
  HAL_GPIO_WritePin(GPIOA, GPIO_PIN_5, GPIO_PIN_RESET);
  HAL_GPIO_WritePin(GPIOB, GPIO_PIN_1, GPIO_PIN_RESET);

  /*Configure GPIO pin : PA4 (HX711 #1 DOUT) */
  GPIO_InitStruct.Pin = GPIO_PIN_4;
  GPIO_InitStruct.Mode = GPIO_MODE_INPUT;
  GPIO_InitStruct.Pull = GPIO_PULLUP;
  HAL_GPIO_Init(GPIOA, &GPIO_InitStruct);

  /*Configure GPIO pin : PA5 (HX711 #1 SCK) */
  GPIO_InitStruct.Pin = GPIO_PIN_5;
  GPIO_InitStruct.Mode = GPIO_MODE_OUTPUT_PP;
  GPIO_InitStruct.Pull = GPIO_NOPULL;
  GPIO_InitStruct.Speed = GPIO_SPEED_FREQ_MEDIUM;
  HAL_GPIO_Init(GPIOA, &GPIO_InitStruct);

  /*Configure GPIO pin : PB0 (HX711 #2 DOUT) */
  GPIO_InitStruct.Pin = GPIO_PIN_0;
  GPIO_InitStruct.Mode = GPIO_MODE_INPUT;
  GPIO_InitStruct.Pull = GPIO_PULLUP;
  HAL_GPIO_Init(GPIOB, &GPIO_InitStruct);

  /*Configure GPIO pin : PB1 (HX711 #2 SCK) */
  GPIO_InitStruct.Pin = GPIO_PIN_1;
  GPIO_InitStruct.Mode = GPIO_MODE_OUTPUT_PP;
  GPIO_InitStruct.Pull = GPIO_NOPULL;
  GPIO_InitStruct.Speed = GPIO_SPEED_FREQ_MEDIUM;
  HAL_GPIO_Init(GPIOB, &GPIO_InitStruct);

}

void Error_Handler(void)
{
  __disable_irq();
  while (1)
  {
  }
}
